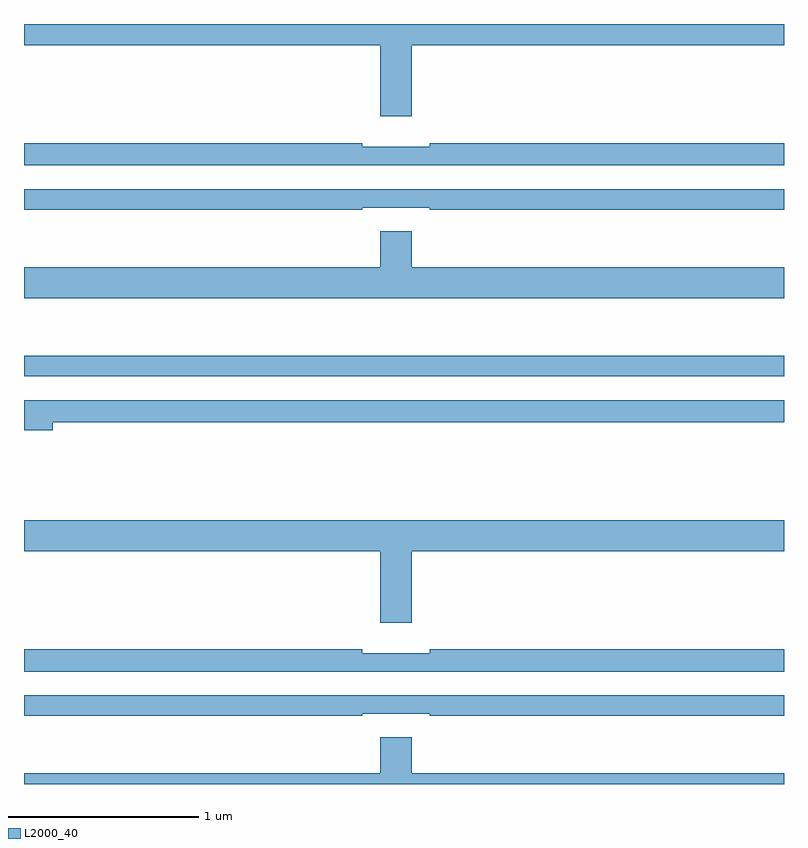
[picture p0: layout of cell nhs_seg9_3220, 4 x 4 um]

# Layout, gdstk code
import gdstk
lib = gdstk.Library(unit=1e-6, precision=1e-09)
def R(c, l, rs):  # rectangles x0, y0, x1, y1
    for r in rs: c.add(gdstk.rectangle(r[:2], r[2:], *l))
def P(c, l, *ps):  # polygons
    for p in ps: c.add(gdstk.Polygon(p, *l))
L2000_40 = (2000, 40)

nhs_seg9_3220 = lib.new_cell('nhs_seg9_3220')
R(nhs_seg9_3220, L2000_40, [(295,1226.646,299,1226.755)])
P(nhs_seg9_3220, L2000_40, [(297.04,1228.388),(299,1228.388),(299,1228.5),(295,1228.5),(295,1228.388),(296.876,1228.388),(296.876,1228.014),(297.04,1228.014)],
  [(299,1227.872),(297.136,1227.872),(297.136,1227.853),(296.78,1227.853),(296.78,1227.872),(295,1227.872),(295,1227.756),(299,1227.756)],
  [(296.78,1227.534),(297.136,1227.534),(297.136,1227.522),(299,1227.522),(299,1227.63),(295,1227.63),(295,1227.522),(296.78,1227.522)],
  [(299,1227.22),(297.04,1227.22),(297.04,1227.409),(296.876,1227.409),(296.876,1227.22),(295,1227.22),(295,1227.056),(299,1227.056)],
  [(295.15,1226.404),(299,1226.404),(299,1226.52),(295,1226.52),(295,1226.362),(295.15,1226.362)],
  [(297.04,1225.724),(299,1225.724),(299,1225.888),(295,1225.888),(295,1225.724),(296.876,1225.724),(296.876,1225.35),(297.04,1225.35)],
  [(299,1225.208),(297.136,1225.208),(297.136,1225.189),(296.78,1225.189),(296.78,1225.208),(295,1225.208),(295,1225.092),(299,1225.092)],
  [(296.78,1224.87),(297.136,1224.87),(297.136,1224.858),(299,1224.858),(299,1224.966),(295,1224.966),(295,1224.858),(296.78,1224.858)],
  [(299,1224.556),(297.04,1224.556),(297.04,1224.745),(296.876,1224.745),(296.876,1224.556),(295,1224.556),(295,1224.5),(299,1224.5)])

lib.write_gds('nhs_seg9_3220.gds')
